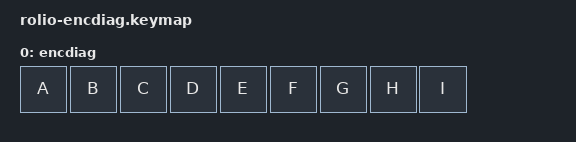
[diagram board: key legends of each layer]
// -*- mode: dts -*-
/*
 * Rolio encoder-pin hunt. NOT a usable layout.
 *
 * Replaces the key matrix with a direct kscan over every pin the E73 module
 * exposes that the verified configuration does NOT already use:
 *
 *   P0.03 P0.06 P0.08 P0.10 P0.12 P0.24 P0.26 P1.06 P1.10
 *
 * Each is a pull-up input, active low. A rotary encoder shorts its A and B
 * lines to ground as it turns, so rotating the roller should register as
 * "key presses" on exactly the two pins it is wired to.
 *
 *   a=P0.03  b=P0.06  c=P0.08  d=P0.10  e=P0.12
 *   f=P0.24  g=P0.26  h=P1.06  i=P1.10
 *
 * Excluded: P1.11 (peripheral power, must stay driven), P0.18 (RESET), and
 * everything already claimed by the matrix, SPI buses, PWM, LED and battery.
 */

#include <behaviors.dtsi>
#include <dt-bindings/zmk/keys.h>
#include <dt-bindings/zmk/matrix_transform.h>
#include <physical_layouts.dtsi>

/ {
    chosen {
        zmk,kscan = &kscan_direct;
        zmk,physical-layout = &encdiag_layout;
    };

    kscan_direct: kscan_direct {
        compatible = "zmk,kscan-gpio-direct";
        wakeup-source;
        input-gpios
            = <&gpio0 3  (GPIO_ACTIVE_LOW | GPIO_PULL_UP)>
            , <&gpio0 6  (GPIO_ACTIVE_LOW | GPIO_PULL_UP)>
            , <&gpio0 8  (GPIO_ACTIVE_LOW | GPIO_PULL_UP)>
            , <&gpio0 10 (GPIO_ACTIVE_LOW | GPIO_PULL_UP)>
            , <&gpio0 12 (GPIO_ACTIVE_LOW | GPIO_PULL_UP)>
            , <&gpio0 24 (GPIO_ACTIVE_LOW | GPIO_PULL_UP)>
            , <&gpio0 26 (GPIO_ACTIVE_LOW | GPIO_PULL_UP)>
            , <&gpio1 6  (GPIO_ACTIVE_LOW | GPIO_PULL_UP)>
            , <&gpio1 10 (GPIO_ACTIVE_LOW | GPIO_PULL_UP)>
            ;
    };

    encdiag_transform: encdiag_transform {
        compatible = "zmk,matrix-transform";
        columns = <9>;
        rows = <1>;
        map = <RC(0,0) RC(0,1) RC(0,2) RC(0,3) RC(0,4) RC(0,5) RC(0,6) RC(0,7) RC(0,8)>;
    };

    encdiag_layout: encdiag_layout {
        compatible = "zmk,physical-layout";
        display-name = "encdiag";
        kscan = <&kscan_direct>;
        transform = <&encdiag_transform>;
        keys
            = <&key_physical_attrs 100 100    0 0 0 0 0>, <&key_physical_attrs 100 100  100 0 0 0 0>
            , <&key_physical_attrs 100 100  200 0 0 0 0>, <&key_physical_attrs 100 100  300 0 0 0 0>
            , <&key_physical_attrs 100 100  400 0 0 0 0>, <&key_physical_attrs 100 100  500 0 0 0 0>
            , <&key_physical_attrs 100 100  600 0 0 0 0>, <&key_physical_attrs 100 100  700 0 0 0 0>
            , <&key_physical_attrs 100 100  800 0 0 0 0>
            ;
    };

    keymap {
        compatible = "zmk,keymap";
        encdiag_layer {
            display-name = "encdiag";
            bindings = <&kp A &kp B &kp C &kp D &kp E &kp F &kp G &kp H &kp I>;
        };
    };
};

/* Free P0.03 and P1.10 from the encoder driver so the direct kscan owns them. */
&encoder_left  { status = "disabled"; };
&encoder_right { status = "disabled"; };
